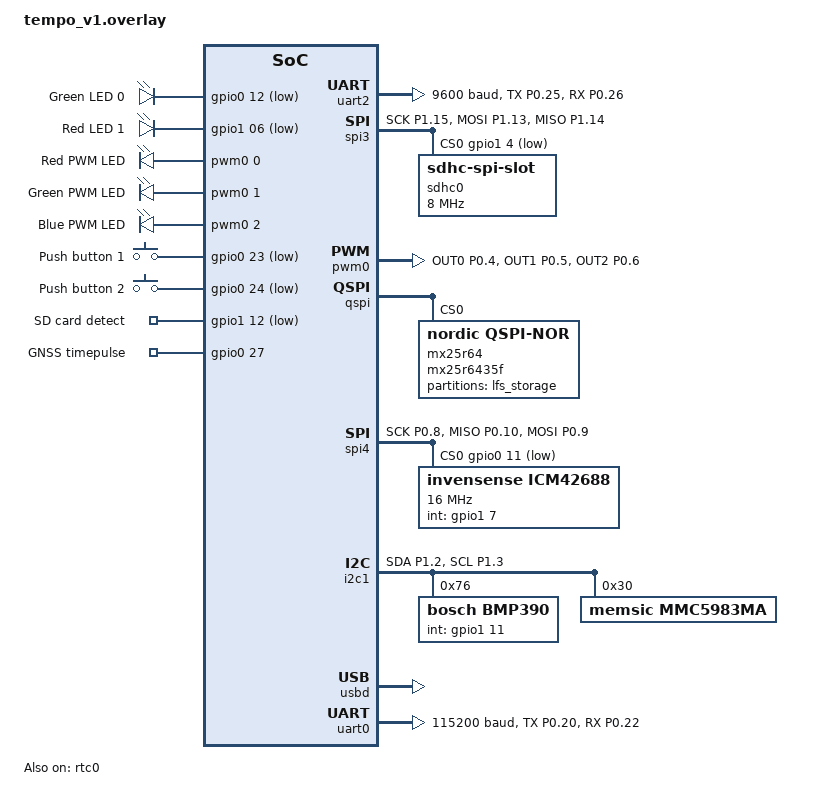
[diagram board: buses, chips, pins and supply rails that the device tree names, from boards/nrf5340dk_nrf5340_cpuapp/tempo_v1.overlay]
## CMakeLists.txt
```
#
# Copyright (c) 2018 Nordic Semiconductor
#
# SPDX-License-Identifier: LicenseRef-Nordic-5-Clause
#
cmake_minimum_required(VERSION 3.20.0)

# Add custom devicetree bindings
list(APPEND DTS_ROOT ${CMAKE_CURRENT_SOURCE_DIR})

find_package(Zephyr REQUIRED HINTS $ENV{ZEPHYR_BASE})
project(tempo-bt-v1)


# Generate version header on every build: the header embeds the git commit
# and build date, which can change without app.version being touched.
# gen_version.py rewrites the file only when its content actually changes,
# so dependent sources are not needlessly recompiled.
set(VERSION_HEADER ${CMAKE_CURRENT_BINARY_DIR}/include/generated/app_version.h)
add_custom_target(version_header
    COMMAND ${PYTHON_EXECUTABLE} ${CMAKE_CURRENT_SOURCE_DIR}/scripts/gen_version.py ${VERSION_HEADER}
    BYPRODUCTS ${VERSION_HEADER}
    COMMENT "Generating version header"
)
add_dependencies(app version_header)

# NORDIC SDK APP START
# Add generated include directory
target_include_directories(app PRIVATE ${CMAKE_CURRENT_BINARY_DIR}/include)

# Main application sources
target_sources(app PRIVATE 
    src/main.c
    src/app_init.c
    src/events.c
    src/mcumgr_custom.c
    src/ble_mcumgr.c
)

# Configuration sources
target_sources(app PRIVATE
    src/config/settings.c
)

# Service layer sources
target_sources(app PRIVATE
    src/services/timebase.c
    src/services/gnss_m10q.c
    src/services/imu_icm42688.c
    src/services/orientation.c
    src/services/baro_bmp390.c
    src/services/aggregator.c
    src/services/storage.c
    src/services/storage_fatfs.c
    src/services/storage_littlefs.c
    src/services/logger.c
    src/services/file_writer.c
    src/services/led.c
)

# Magnetometer driver and service (optional)
target_sources_ifdef(CONFIG_MMC5983MA app PRIVATE
    drivers/sensor/mmc5983ma/mmc5983ma.c
    drivers/sensor/mmc5983ma/mmc5983ma_i2c.c
    src/services/mag_mmc5983ma.c
)
target_include_directories_ifdef(CONFIG_MMC5983MA app PRIVATE
    drivers/sensor/mmc5983ma
)

# USB CDC-ACM TTY service (optional)
target_sources_ifdef(CONFIG_USB_TTY_OUTPUT app PRIVATE
    src/services/usb_tty.c
    src/services/usb_cmd.c
)

# Utility sources
target_sources(app PRIVATE
    src/util/nmea_checksum.c
    tests/test_imu.c
)

# Fusion AHRS library
target_sources(app PRIVATE
    Fusion/FusionAhrs.c
    Fusion/FusionBias.c
    Fusion/FusionCompass.c
)

# NORDIC SDK APP END
zephyr_library_include_directories(.)
target_include_directories(app PRIVATE
    include
    ${CMAKE_CURRENT_SOURCE_DIR}/Fusion
)
```

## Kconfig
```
#
# Tempo-BT Application Configuration
#
# SPDX-License-Identifier: Apache-2.0

menu "Tempo-BT Application"

config GNSS_TEST_MODE
	bool "Enable GNSS UBX communication test at boot"
	default n
	help
	  Run UBX protocol validation tests during GNSS initialization.
	  This sends test commands to the SAM-M10Q and verifies ACK/NAK
	  responses are received correctly. Useful for debugging
	  communication issues with the GNSS module.

config USE_MAG_IN_ORIENTATION
	bool "Use magnetometer in orientation AHRS"
	default n
	depends on MMC5983MA
	help
	  When enabled, the orientation service will read magnetometer
	  samples from the MMC5983MA sensor and feed them to the Fusion
	  AHRS algorithm for improved heading accuracy. This provides
	  absolute heading reference but requires magnetometer calibration.

	  When disabled, the AHRS operates in IMU-only mode using
	  gyroscope and accelerometer data. Heading will drift over time
	  but is immune to magnetic interference.

config USB_TTY_OUTPUT
	bool "Enable USB CDC-ACM TTY output for ground testing"
	default y
	depends on USB_DEVICE_STACK && USB_CDC_ACM
	help
	  Long press BTN1 to stream sensor/NMEA data over USB serial
	  when a USB host is connected. Ground test mode only.

endmenu

# Include project-specific drivers
rsource "drivers/Kconfig"

source "Kconfig.zephyr"
```

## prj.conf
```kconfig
#
# Copyright (c) 2018 Nordic Semiconductor
#
# SPDX-License-Identifier: LicenseRef-Nordic-5-Clause
#

# System configuration
CONFIG_MAIN_STACK_SIZE=10240
CONFIG_SYSTEM_WORKQUEUE_STACK_SIZE=2048
CONFIG_MCUMGR_TRANSPORT_WORKQUEUE_STACK_SIZE=4608
CONFIG_ISR_STACK_SIZE=2048
CONFIG_HEAP_MEM_POOL_SIZE=16384

# Thread configuration
CONFIG_INIT_STACKS=y
CONFIG_THREAD_STACK_INFO=y
CONFIG_THREAD_MONITOR=y
CONFIG_THREAD_NAME=y

# Logging configuration
CONFIG_LOG=y
CONFIG_LOG_BACKEND_UART=y
CONFIG_LOG_DEFAULT_LEVEL=3
CONFIG_LOG_MODE_IMMEDIATE=y
CONFIG_LOG_BACKEND_RTT=n
CONFIG_USE_SEGGER_RTT=n
#CONFIG_SEGGER_RTT_BUFFER_SIZE_UP=4096
#CONFIG_RTT_CONSOLE=y
CONFIG_CONSOLE=y
CONFIG_UART_CONSOLE=y

# Floating Point and math support
CONFIG_FPU=y
CONFIG_CBPRINTF_FP_SUPPORT=y
CONFIG_POSIX_API=y

# Enable sensor drivers
CONFIG_SENSOR=y
CONFIG_ICM42688=y
CONFIG_SENSOR_LOG_LEVEL_DBG=n 

# Optional: Enable trigger/interrupt mode
# CONFIG_ICM42688_TRIGGER=y
# CONFIG_ICM42688_TRIGGER_GLOBAL_THREAD=y

# Drivers
CONFIG_GPIO=y
CONFIG_I2C=y
CONFIG_SPI=y
#CONFIG_SPI_NRFX=y

CONFIG_SERIAL=y
CONFIG_UART_ASYNC_API=y
CONFIG_UART_INTERRUPT_DRIVEN=y
# support reconfiguration to move to faster baudrate after init
CONFIG_UART_USE_RUNTIME_CONFIGURE=y

# CDC-ACM forces UART_INTERRUPT_DRIVEN=y globally, which makes each hardware
# UART instance default to interrupt-driven mode (blocking async API).
# Explicitly disable interrupt-driven on hardware UARTs so they use async API.
CONFIG_UART_0_INTERRUPT_DRIVEN=n
CONFIG_UART_2_INTERRUPT_DRIVEN=n

CONFIG_PWM=y

# USB CDC-ACM for ground test output
CONFIG_USB_DEVICE_STACK=y
CONFIG_USB_CDC_ACM=y
CONFIG_USB_DEVICE_VID=0x1209
CONFIG_USB_DEVICE_PID=0x2026
CONFIG_USB_DEVICE_PRODUCT="Tempo-BT"
CONFIG_USB_DEVICE_MANUFACTURER="Riley Rainey"
CONFIG_USB_DEVICE_LOG_LEVEL_WRN=y

# Button and LED library
CONFIG_DK_LIBRARY=y

# Flash and QSPI configuration
CONFIG_FLASH=y
CONFIG_FLASH_PAGE_LAYOUT=y
CONFIG_FLASH_MAP=y
CONFIG_NORDIC_QSPI_NOR=y
CONFIG_NORDIC_QSPI_NOR_FLASH_LAYOUT_PAGE_SIZE=4096
CONFIG_NORDIC_QSPI_NOR_STACK_WRITE_BUFFER_SIZE=16
CONFIG_PM_DEVICE=y

# NVS Settings
CONFIG_SETTINGS=y
CONFIG_SETTINGS_NVS=y
CONFIG_NVS=y
# CONFIG_NVS_LOG_LEVEL_DBG=y
# CONFIG_SETTINGS_LOG_LEVEL_DBG=y
CONFIG_MPU_ALLOW_FLASH_WRITE=y

# File system configuration
CONFIG_FILE_SYSTEM=y
CONFIG_FILE_SYSTEM_LITTLEFS=y
CONFIG_FS_LITTLEFS_NUM_FILES=4
CONFIG_FS_LITTLEFS_NUM_DIRS=4

# SD Card and FAT filesystem
CONFIG_DISK_ACCESS=y
CONFIG_DISK_DRIVER_SDMMC=y
CONFIG_SDHC=y
CONFIG_SDMMC_STACK=y
CONFIG_FAT_FILESYSTEM_ELM=y
CONFIG_FS_FATFS_EXFAT=y  
CONFIG_FS_FATFS_LFN=y   
CONFIG_FS_FATFS_LFN_MODE_HEAP=y
CONFIG_FS_FATFS_MAX_LFN=255
CONFIG_FS_FATFS_CODEPAGE=437  
CONFIG_FS_FATFS_NUM_FILES=8
CONFIG_FS_FATFS_NUM_DIRS=8 
CONFIG_FS_FATFS_REENTRANT=y

# Bluetooth LE configuration
CONFIG_BT=y
CONFIG_BT_PERIPHERAL=y
CONFIG_BT_DEVICE_NAME="Tempo-BT"
CONFIG_BT_DEVICE_NAME_DYNAMIC=y
CONFIG_BT_MAX_CONN=2
CONFIG_BT_LBS=y
CONFIG_BT_LBS_POLL_BUTTON=y
CONFIG_BT_GATT_CLIENT=y
CONFIG_BT_RX_STACK_SIZE=2048

# BLE connection parameters
CONFIG_BT_PERIPHERAL_PREF_MIN_INT=800
CONFIG_BT_PERIPHERAL_PREF_MAX_INT=800
CONFIG_BT_PERIPHERAL_PREF_LATENCY=0
CONFIG_BT_PERIPHERAL_PREF_TIMEOUT=400
CONFIG_BT_GAP_AUTO_UPDATE_CONN_PARAMS=y

# BLE PHY and data length updates
CONFIG_BT_USER_PHY_UPDATE=y
CONFIG_BT_USER_DATA_LEN_UPDATE=y

# BLE buffer configuration for mcumgr
CONFIG_BT_BUF_ACL_TX_SIZE=251
CONFIG_BT_BUF_ACL_RX_SIZE=502
CONFIG_BT_L2CAP_TX_MTU=498
CONFIG_BT_L2CAP_TX_BUF_COUNT=8
CONFIG_BT_ATT_PREPARE_COUNT=2

# mcumgr configuration
CONFIG_ZCBOR=y
CONFIG_MCUMGR=y
CONFIG_MCUMGR_GRP_FS=y
CONFIG_MCUMGR_GRP_IMG=y
CONFIG_MCUMGR_GRP_OS=y
CONFIG_MCUMGR_GRP_STAT=y

# SMP over Bluetooth
CONFIG_MCUMGR_TRANSPORT_BT=y
CONFIG_MCUMGR_TRANSPORT_BT_PERM_RW=y
CONFIG_MCUMGR_TRANSPORT_BT_CONN_PARAM_CONTROL=y

# File system management
# Chunk must fit in MCUMGR_TRANSPORT_NETBUF_SIZE (2475) with CBOR overhead;
# larger chunks mean fewer BLE request/response round trips per download
CONFIG_MCUMGR_GRP_FS_DL_CHUNK_SIZE=1024
CONFIG_MCUMGR_GRP_FS_DL_CHUNK_SIZE_LIMIT=y


# Image management for DFU
CONFIG_STREAM_FLASH=y
CONFIG_IMG_MANAGER=y
CONFIG_MCUBOOT_IMG_MANAGER=y
CONFIG_IMG_BLOCK_BUF_SIZE=512

# Shell configuration
#CONFIG_SHELL=y
#CONFIG_SHELL_BACKENDS=y
#CONFIG_SHELL_BACKEND_SERIAL=y
#CONFIG_SHELL_CMD_BUFF_SIZE=256
#CONFIG_NET_SHELL=n

CONFIG_SHELL=n

# mcumgr callbacks
CONFIG_MCUMGR_MGMT_NOTIFICATION_HOOKS=y
CONFIG_MCUMGR_GRP_FS_FILE_ACCESS_HOOK=y

# OS management
CONFIG_MCUMGR_GRP_OS_TASKSTAT=y
CONFIG_MCUMGR_GRP_OS_ECHO=y

# Statistics
CONFIG_STATS=y
CONFIG_STATS_NAMES=y
CONFIG_MCUMGR_GRP_STAT_MAX_NAME_LEN=32

# MCUboot support
CONFIG_BOOTLOADER_MCUBOOT=y
CONFIG_MCUBOOT_SIGNATURE_KEY_FILE="bootloader/mcuboot/root-rsa-2048.pem"
CONFIG_NCS_SAMPLE_MCUMGR_BT_OTA_DFU=y

# System features
CONFIG_REBOOT=y

#CONFIG_GNSS_TEST_MODE=y

# Magnetometer sensor integration
CONFIG_MMC5983MA=y
CONFIG_USE_MAG_IN_ORIENTATION=y
```

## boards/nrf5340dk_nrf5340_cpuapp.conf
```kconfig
#
# Copyright (c) 2018 Nordic Semiconductor
#
# SPDX-License-Identifier: LicenseRef-Nordic-5-Clause
#

# Logger module
CONFIG_LOG=y

# Button and LED library
CONFIG_DK_LIBRARY=y

# Floating Point Unit
CONFIG_FPU=y

# Bluetooth LE
CONFIG_BT=y
CONFIG_BT_PERIPHERAL=y
CONFIG_BT_LBS=y
CONFIG_BT_LBS_POLL_BUTTON=y
CONFIG_BT_GATT_CLIENT=y

# STEP 5 - Configure your preferred connection parameters
CONFIG_BT_PERIPHERAL_PREF_MIN_INT=800
CONFIG_BT_PERIPHERAL_PREF_MAX_INT=800
CONFIG_BT_PERIPHERAL_PREF_LATENCY=0
CONFIG_BT_PERIPHERAL_PREF_TIMEOUT=400
CONFIG_BT_GAP_AUTO_UPDATE_CONN_PARAMS=y

# STEP 8 - Enable PHY updates.
CONFIG_BT_USER_PHY_UPDATE=y

# STEP 12 - Update Data Length and MTU
CONFIG_BT_USER_DATA_LEN_UPDATE=y
#CONFIG_BT_BUF_ACL_RX_SIZE=251
CONFIG_BT_BUF_ACL_RX_SIZE=502
#CONFIG_BT_BUF_ACL_TX_SIZE=251
#CONFIG_BT_L2CAP_TX_MTU=247
CONFIG_BT_BUF_ACL_TX_SIZE=251
CONFIG_BT_L2CAP_TX_MTU=498

# Increase stack size for the main thread, System Workqueue, and BT RX thread
CONFIG_SYSTEM_WORKQUEUE_STACK_SIZE=2048
CONFIG_MAIN_STACK_SIZE=2048
CONFIG_BT_RX_STACK_SIZE=2048
```

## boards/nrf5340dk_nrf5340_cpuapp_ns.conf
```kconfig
#
# Copyright (c) 2018 Nordic Semiconductor
#
# SPDX-License-Identifier: LicenseRef-Nordic-5-Clause
#

# Logger module
CONFIG_LOG=y

# Button and LED library
CONFIG_DK_LIBRARY=y

# Floating Point Unit
CONFIG_FPU=y

# Bluetooth LE
CONFIG_BT=y
CONFIG_BT_PERIPHERAL=y
CONFIG_BT_LBS=y
CONFIG_BT_LBS_POLL_BUTTON=y
CONFIG_BT_GATT_CLIENT=y

# STEP 5 - Configure your preferred connection parameters
CONFIG_BT_PERIPHERAL_PREF_MIN_INT=800
CONFIG_BT_PERIPHERAL_PREF_MAX_INT=800
CONFIG_BT_PERIPHERAL_PREF_LATENCY=0
CONFIG_BT_PERIPHERAL_PREF_TIMEOUT=400
CONFIG_BT_GAP_AUTO_UPDATE_CONN_PARAMS=y

# STEP 8 - Enable PHY updates.
CONFIG_BT_USER_PHY_UPDATE=y

# STEP 12 - Update Data Length and MTU
CONFIG_BT_USER_DATA_LEN_UPDATE=y
CONFIG_BT_BUF_ACL_RX_SIZE=251
CONFIG_BT_BUF_ACL_TX_SIZE=251
CONFIG_BT_L2CAP_TX_MTU=247

# Increase stack size for the main thread, System Workqueue, and BT RX thread
CONFIG_SYSTEM_WORKQUEUE_STACK_SIZE=2048
CONFIG_MAIN_STACK_SIZE=2048
CONFIG_BT_RX_STACK_SIZE=2048
```

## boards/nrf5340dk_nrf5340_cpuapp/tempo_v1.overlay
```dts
/*
 * Copyright (c) 2025 Riley Rainey
 * SPDX-License-Identifier: Apache-2.0
 *
 * Tempo-BT V1 Board Overlay
 * Golden board definition
 */

 #include <zephyr/dt-bindings/sensor/icm42688.h>


&rtc0 {
    status = "okay";
};

/* UART for SAM-M10Q GNSS */
&uart2 {
    status = "okay";
    current-speed = <9600>;  /* SAM-M10Q default baud rate */
    pinctrl-0 = <&uart2_default>;
    pinctrl-1 = <&uart2_sleep>;
    pinctrl-names = "default", "sleep";
    /* No hw-flow-control property = flow control disabled */
};

/* SPI3 for SD Card */
&spi3 {
    compatible = "nordic,nrf-spim";
    status = "okay";
    cs-gpios = <&gpio1 4 (GPIO_ACTIVE_LOW | GPIO_PULL_UP)>;  /* P1.04 for CS */
    pinctrl-0 = <&spi3_default>;
    pinctrl-1 = <&spi3_sleep>;
    pinctrl-names = "default", "sleep";
    
    /* SD Card using SPI mode */
    sdhc0: sdhc@0 {
        compatible = "zephyr,sdhc-spi-slot";
        reg = <0>;
        spi-max-frequency = <8000000>;  /* Start at 8MHz, SD cards support up to 25MHz in SPI mode */
        mmc {
            compatible = "zephyr,sdmmc-disk";
            disk-name = "SD";
            status = "okay";
        };
    };
};

/* Enable RGB LED */
&pwm0 {
    status = "okay";
    pinctrl-0 = <&pwm0_default>;
    pinctrl-1 = <&pwm0_sleep>;
    pinctrl-names = "default", "sleep";
};

/ {
    /* STANDARD LEDs */
    leds {
		compatible = "gpio-leds";
        status = "okay";
		led0: led_0 {
			gpios = <&gpio0 12 GPIO_ACTIVE_LOW>;
			label = "Green LED 0";
		};
		led1: led_1 {
			gpios = <&gpio1 06 GPIO_ACTIVE_LOW>;
			label = "Red LED 1";
		};
	};

    /* RGB LED */
    pwmleds {
		compatible = "pwm-leds";
		status = "okay";
		pwm_led0: pwm_led_0 {
			/* Try without polarity inversion first */
			pwms = <&pwm0 0 PWM_MSEC(20) PWM_POLARITY_NORMAL>;
			label = "Red PWM LED";
		};
		pwm_led1: pwm_led_1 {
			pwms = <&pwm0 1 PWM_MSEC(20) PWM_POLARITY_NORMAL>;
			label = "Green PWM LED";
		};
		pwm_led2: pwm_led_2 {
			pwms = <&pwm0 2 PWM_MSEC(20) PWM_POLARITY_NORMAL>;
			label = "Blue PWM LED";
		};
	};

    /* OPTIONAL HARDWARE-DEBOUNCED PUSHBUTTONS */
    buttons {
		compatible = "gpio-keys";
        status = "okay";
		button0: button_0 {
			gpios = <&gpio0 23 (GPIO_PULL_UP | GPIO_ACTIVE_LOW)>;
			label = "Push button 1";
			zephyr,code = <INPUT_KEY_0>;
		};
		button1: button_1 {
			gpios = <&gpio0 24 (GPIO_PULL_UP | GPIO_ACTIVE_LOW)>;
			label = "Push button 2";
			zephyr,code = <INPUT_KEY_1>;
		};
	};

    sdcard_detect: sdcard_detect {
        compatible = "gpio-keys";
        sdcard_detect_pin: sdcard_detect_pin {
            gpios = <&gpio1 12 (GPIO_PULL_UP | GPIO_ACTIVE_LOW)>;
            label = "SD card detect";
        };
    };

    /* GNSS Time Pulse (PPS) input from SAM-M10Q */
    gnss_pps: gnss_pps {
        compatible = "gpio-keys";
        gnss_timepulse: gnss_timepulse_pin {
            gpios = <&gpio0 27 GPIO_ACTIVE_HIGH>;
            label = "GNSS timepulse";
        };
    };

    gpio_fwd: nrf-gpio-forwarder {
		compatible = "nordic,nrf-gpio-forwarder";
		status = "okay";

		uart {
			gpios = <&gpio1 1 0>, <&gpio1 0 0>, <&gpio0 28 0>, <&gpio0 29 0>;
		};
	};

    aliases {
        imu0 = &icm42688;
        spi-flash0 = &mx25r64;
        sw0 = &button0;
        sw1 = &button1;
        /* rtc0 = &rtc0; */
    };

    chosen {
        /* Zephyr console on UART0 (default) */
        zephyr,console = &uart0;
        zephyr,shell-uart = &uart0;
        nordic,pm-ext-flash = &mx25r64;
    };
};

/* QSPI NOR Flash - MX25R6435F (64 Mbit) */
&qspi {
    status = "okay";
    
    mx25r64: mx25r6435f@0 {
        status = "okay";
        compatible = "nordic,qspi-nor";
        reg = <0>;
        
        /* MX25R6435F supports up to 80MHz in SDR mode */
        sck-frequency = <8000000>; /* Start conservative at 8MHz */
        
        /* JEDEC ID for MX25R6435F */
        jedec-id = [c2 28 17];
        
        /* 64 Mbit = 8 MByte */
        size = <67108864>;
        
        /* Memory organization */
        has-dpd;
        t-enter-dpd = <10000>;
        t-exit-dpd = <35000>;
        
        /* Quad mode configuration */
        quad-enable-requirements = "S1B6";
        
        /* Read modes supported */
        readoc = "read4io";
        writeoc = "pp4io";
        
        partitions {
            compatible = "fixed-partitions";
            #address-cells = <1>;
            #size-cells = <1>;
            
            lfs_storage: partition@0 {
                label = "lfs_storage";
                reg = <0x00000000 0x00800000>;  /* 8MB */
            };
        };
    };
};

/* SPI4 for IMU - Task 16 */
&spi4 {
    compatible = "nordic,nrf-spim";
    status = "okay";
    cs-gpios = <&gpio0 11 GPIO_ACTIVE_LOW>;  /* P0.11 for CS */
    pinctrl-0 = <&spi4_default>;
    pinctrl-1 = <&spi4_sleep>;
    pinctrl-names = "default", "sleep";
    
    /* ICM-42688-V; requires driver patch for WHO_AM_I to correctly ID the chip */
    icm42688: icm42688@0 {
        compatible = "invensense,icm42688";
        status = "okay";
        reg = <0>;
        spi-max-frequency = <16000000>;
        int-gpios = <&gpio1 7 GPIO_ACTIVE_HIGH>;
        accel-pwr-mode = <ICM42688_DT_ACCEL_LN>;
        accel-fs = <ICM42688_DT_ACCEL_FS_16>;
        accel-odr = <ICM42688_DT_ACCEL_ODR_200>;
        gyro-pwr-mode= <ICM42688_DT_GYRO_LN>;
        gyro-fs = <ICM42688_DT_GYRO_FS_2000>;
        gyro-odr = <ICM42688_DT_GYRO_ODR_200>;
    };
};

/* I2C1 for Barometer and Magnetometer */
&i2c1 {
	compatible = "nordic,nrf-twim";
	status = "okay";
	pinctrl-0 = <&i2c1_default>;
	pinctrl-1 = <&i2c1_sleep>;
	pinctrl-names = "default", "sleep";
    
    bmp390: bmp390@76 {
        compatible = "bosch,bmp390";
        reg = <0x76>;
        label = "BMP390";
        int-gpios = <&gpio1 11 GPIO_ACTIVE_HIGH>;
    };
    
    mmc5983ma: mmc5983ma@30 {
        compatible = "memsic,mmc5983ma";
        reg = <0x30>;
        bandwidth = <0>;        /* BW=00: 8ms measurement, lowest noise */
        auto-sr;                /* Enable automatic SET/RESET */
    };

};

/* USB Device — D+/D- on dedicated SoC pins (B106 C9/D9) */
&usbd {
    compatible = "nordic,nrf-usbd";
    status = "okay";

    cdc_acm_uart0: cdc_acm_uart0 {
        compatible = "zephyr,cdc-acm-uart";
    };
};

/* APP_NORA UART */
&uart0 {
    status = "okay";
    current-speed = <115200>;
    pinctrl-0 = <&uart0_default>;
    pinctrl-1 = <&uart0_sleep>;
    pinctrl-names = "default", "sleep";
    /* No hw-flow-control property = flow control disabled */
};

/* UART for GNSS - Using uart2 */
&uart2 {
    status = "okay";
    current-speed = <9600>;  /* SAM-M10Q default baud rate */
    pinctrl-0 = <&uart2_default>;
    pinctrl-1 = <&uart2_sleep>;
    pinctrl-names = "default", "sleep";
    /* No hw-flow-control property = flow control disabled */
};

/* uart2 pin configuration - TX/RX only, RTS/CTS explicitly disconnected */
&pinctrl {

    i2c1_default: i2c1_default {
		group1 {
			psels = <NRF_PSEL(TWIM_SDA, 1, 2)>,
				<NRF_PSEL(TWIM_SCL, 1, 3)>;
		};
	};

	i2c1_sleep: i2c1_sleep {
		group1 {
			psels = <NRF_PSEL(TWIM_SDA, 1, 2)>,
				<NRF_PSEL(TWIM_SCL, 1, 3)>;
			low-power-enable;
		};
	};

    uart0_default: uart0_default {
        group1 {
            psels = <NRF_PSEL(UART_TX, 0, 20)>,   /* P0.20 APP_NORA_TX */
                    <NRF_PSEL(UART_RX, 0, 22)>;   /* P0.22 APP_NORA_RX */
        };
        group2 {
            psels = <NRF_PSEL(UART_RTS, 0, 0xFFFFFFFF)>,  /* Disconnected */
                    <NRF_PSEL(UART_CTS, 0, 0xFFFFFFFF)>;  /* Disconnected */
        };
    };

    uart0_sleep: uart0_sleep {
        group1 {
            psels = <NRF_PSEL(UART_TX, 0, 20)>,
                    <NRF_PSEL(UART_RX, 0, 22)>;
            low-power-enable;
        };
        group2 {
            psels = <NRF_PSEL(UART_RTS, 0, 0xFFFFFFFF)>,
                    <NRF_PSEL(UART_CTS, 0, 0xFFFFFFFF)>;
            low-power-enable;
        };
    };

    uart2_default: uart2_default {
        group1 {
            psels = <NRF_PSEL(UART_TX, 0, 25)>,   /* P0.25 (VCOM1_TX) -> GNSS RX */
                    <NRF_PSEL(UART_RX, 0, 26)>;   /* P0.26 (VCOM1_RX) <- GNSS TX */
        };
        group2 {
            psels = <NRF_PSEL(UART_RTS, 0, 0xFFFFFFFF)>,  /* Disconnected */
                    <NRF_PSEL(UART_CTS, 0, 0xFFFFFFFF)>;  /* Disconnected */
        };
    };

    uart2_sleep: uart2_sleep {
        group1 {
            psels = <NRF_PSEL(UART_TX, 0, 25)>,
                    <NRF_PSEL(UART_RX, 0, 26)>;
            low-power-enable;
        };
        group2 {
            psels = <NRF_PSEL(UART_RTS, 0, 0xFFFFFFFF)>,
                    <NRF_PSEL(UART_CTS, 0, 0xFFFFFFFF)>;
            low-power-enable;
        };
    };

    spi3_default: spi3_default {
        group1 {
            psels = <NRF_PSEL(SPIM_SCK, 1, 15)>,  /* P1.15 FLASH_SCK */
                    <NRF_PSEL(SPIM_MOSI, 1, 13)>; /* P1.13 FLASH_MOSI */
        };
        group2 {
            psels = <NRF_PSEL(SPIM_MISO, 1, 14)>;  /* P1.14 FLASH_MISO */
            bias-pull-up;                          /* Enable pull-up on MISO */
        };
    };

    spi3_sleep: spi3_sleep {
        group1 {
            psels = <NRF_PSEL(SPIM_SCK, 1, 15)>,
                    <NRF_PSEL(SPIM_MOSI, 1, 13)>;
        };
        group2 {
            psels = <NRF_PSEL(SPIM_MISO, 1, 14)>;
            bias-pull-up;  /* Enable pull-up on MISO */
        };
    };

    spi4_default: spi4_default {
		group1 {
			psels = <NRF_PSEL(SPIM_SCK, 0, 8)>,// mikroBUS slot 1
				<NRF_PSEL(SPIM_MISO, 0, 10)>,// mikroBUS slot 1
				<NRF_PSEL(SPIM_MOSI, 0, 9)>;// mikroBUS slot 1
		};
	};

	spi4_sleep: spi4_sleep {
		group1 {
			psels = <NRF_PSEL(SPIM_SCK, 0, 8)>,// mikroBUS slot 1
				<NRF_PSEL(SPIM_MISO, 0, 10)>,// mikroBUS slot 1
				<NRF_PSEL(SPIM_MOSI, 0, 9)>;// mikroBUS slot 1
			low-power-enable;
		};
	};

    pwm0_default: pwm0_default {
		group1 {
			psels = <NRF_PSEL(PWM_OUT0, 0, 4)>,
				<NRF_PSEL(PWM_OUT1, 0, 5)>,
				<NRF_PSEL(PWM_OUT2, 0, 6)>;
			nordic,invert; 
		};
	};

	pwm0_sleep: pwm0_sleep {
		group1 {
			psels = <NRF_PSEL(PWM_OUT0, 0, 4)>,
				<NRF_PSEL(PWM_OUT1, 0, 5)>,
				<NRF_PSEL(PWM_OUT2, 0, 6)>;
			nordic,invert;
			low-power-enable;
		};
	};
};

&button2 {
    status = "disabled";
};

&button3 {
    status = "disabled";
};
```

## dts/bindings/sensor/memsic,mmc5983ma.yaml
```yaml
# Copyright (c) 2024
# SPDX-License-Identifier: Apache-2.0

description: |
  MEMSIC MMC5983MA 3-axis magnetometer with temperature sensor.

  Features:
  - ±8 Gauss full scale range
  - 18-bit resolution (0.0625 mG/LSB)
  - Up to 1000 Hz output data rate
  - Built-in SET/RESET for offset elimination
  - I2C interface (400 kHz fast mode)

  Example devicetree node:

    &i2c1 {
        mmc5983ma: mmc5983ma@30 {
            compatible = "memsic,mmc5983ma";
            reg = <0x30>;
            status = "okay";

            /* Optional configuration */
            bandwidth = <0>;        /* 0=100Hz, 1=200Hz, 2=400Hz, 3=800Hz */
            auto-sr;                /* Enable automatic SET/RESET */
        };
    };

compatible: "memsic,mmc5983ma"

include: [sensor-device.yaml, i2c-device.yaml]

properties:
  bandwidth:
    type: int
    default: 0
    description: |
      Bandwidth selection (decimation filter length).
      Controls measurement time and noise level.
        0: 8ms measurement, 100Hz bandwidth, 0.4mG RMS noise
        1: 4ms measurement, 200Hz bandwidth, 0.6mG RMS noise
        2: 2ms measurement, 400Hz bandwidth, 0.8mG RMS noise
        3: 0.5ms measurement, 800Hz bandwidth, 1.2mG RMS noise
    enum:
      - 0
      - 1
      - 2
      - 3

  auto-sr:
    type: boolean
    description: |
      Enable automatic SET/RESET function.
      When enabled, the sensor automatically performs SET/RESET
      operations to eliminate bridge offset drift with temperature.
      Recommended for best accuracy.

  continuous-mode-rate:
    type: int
    default: 0
    description: |
      Continuous measurement mode frequency in Hz.
      Set to 0 to disable continuous mode (use single-shot).
      Valid values: 0 (off), 1, 10, 20, 50, 100, 200, 1000
    enum:
      - 0
      - 1
      - 10
      - 20
      - 50
      - 100
      - 200
      - 1000

  int-gpios:
    type: phandle-array
    description: |
      Optional interrupt GPIO for data-ready notification.
      The INT pin is active high when a measurement completes.

  # Calibration defaults (can be overridden at runtime via settings)
  cal-offset-x:
    type: int
    default: 0
    description: Hard-iron X offset in raw 18-bit counts

  cal-offset-y:
    type: int
    default: 0
    description: Hard-iron Y offset in raw 18-bit counts

  cal-offset-z:
    type: int
    default: 0
    description: Hard-iron Z offset in raw 18-bit counts

  cal-scale-x:
    type: int
    default: 32768
    description: X axis scale factor (Q1.15 fixed-point, 32768 = 1.0)

  cal-scale-y:
    type: int
    default: 32768
    description: Y axis scale factor (Q1.15 fixed-point, 32768 = 1.0)

  cal-scale-z:
    type: int
    default: 32768
    description: Z axis scale factor (Q1.15 fixed-point, 32768 = 1.0)
```

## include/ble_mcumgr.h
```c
#ifndef BLE_MCUMGR_H
#define BLE_MCUMGR_H

/**
 * @brief Initialize BLE stack, mcumgr transport, and start advertising
 *
 * @return 0 on success, negative error code on failure
 */
extern int ble_mcumgr_init(void);

/**
 * @brief Stop BLE advertising and disconnect any active connection
 *
 * Call this when entering an active logging session to eliminate
 * radio interference and save power during flight.  Safe to call
 * if BLE is already stopped.
 *
 * @return 0 on success, negative error code on failure
 */
int ble_mcumgr_stop(void);

/**
 * @brief Restart BLE advertising after a logging session ends
 *
 * Re-enables advertising so the device is discoverable again.
 * Safe to call if BLE is already advertising.
 *
 * @return 0 on success, negative error code on failure
 */
int ble_mcumgr_restart(void);

/**
 * @brief Schedule BLE stop after a short delay
 *
 * Used when logging is started via a BLE command so the mcumgr
 * response packet can be transmitted before the radio is disabled.
 * The default delay is 500 ms.
 */
void ble_mcumgr_stop_deferred(void);

#endif /* BLE_MCUMGR_H */
```

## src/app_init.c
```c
/*
 * SPDX-License-Identifier: Apache-2.0
 * 
 * Tempo-BT V1 - Application Initialization
 */

#define PM_lfs_storage_ID PM_littlefs_storage_ID

#include <zephyr/kernel.h>
#include <zephyr/logging/log.h>
#include <zephyr/fs/fs.h>
#include <zephyr/fs/littlefs.h>
#include <zephyr/storage/flash_map.h>
#include <zephyr/device.h>
#include <zephyr/devicetree.h>
#include <zephyr/dfu/mcuboot.h>
#include <zephyr/mgmt/mcumgr/mgmt/mgmt.h>
#include <zephyr/mgmt/mcumgr/mgmt/callbacks.h>

#include <zephyr/bluetooth/bluetooth.h>
#include <zephyr/bluetooth/conn.h>

LOG_MODULE_REGISTER(app_init, LOG_LEVEL_INF);

#include "ble_mcumgr.h"
#include "services/logger.h"
#include "services/storage.h"

extern void tempo_mgmt_register(void);

/* DFU safety callback */
static enum mgmt_cb_return dfu_mgmt_action(uint32_t event, enum mgmt_cb_return prev_status,
				       int32_t *rc, uint16_t *group, bool *abort_more, void *data,
				       size_t data_size)
{
    if (event == MGMT_EVT_OP_IMG_MGMT_DFU_CHUNK) {
        /* Check if logging is active */
        logger_state_t state = logger_get_state();
        if (state == LOGGER_STATE_LOGGING) {
            LOG_WRN("DFU blocked: logging in progress");
            *abort_more = true;
            return MGMT_CB_ERROR_RC;
        }
    }
    
    return MGMT_CB_OK;
}

static struct mgmt_callback dfu_mgmt_cb = {
    .callback = dfu_mgmt_action,
    .event_id = MGMT_EVT_OP_IMG_MGMT_DFU_CHUNK,
};

/* Register DFU safety callback */
void dfu_safety_init(void)
{
    mgmt_callback_register(&dfu_mgmt_cb);
    LOG_INF("DFU safety callback registered");
}

/* Get the partition ID directly */
#define STORAGE_PARTITION_ID FIXED_PARTITION_ID(lfs_storage)

/* LittleFS work buffer and cache configuration */
FS_LITTLEFS_DECLARE_DEFAULT_CONFIG(littlefs_storage);

#if 0
/* Mount point - renamed to avoid conflict with lfs_mount function */
static struct fs_mount_t storage_mount_point = {
    .type = FS_LITTLEFS,
    .fs_data = &littlefs_storage,
    .storage_dev = (void *)STORAGE_PARTITION_ID,
    .mnt_point = "/lfs",
};
#endif

int app_storage_init(void)
{
    int ret;

    /* Try to initialize with auto-detection */
    ret = storage_auto_init();
    if (ret != 0) {
        LOG_ERR("Failed to initialize storage: %d", ret);
        return ret;
    }

    /* Get backend info */
    storage_backend_t backend = storage_get_backend();
    const char *backend_name = (backend == STORAGE_BACKEND_FATFS) ? "SD card" : "internal flash";
    
    LOG_INF("Storage initialized using %s", backend_name);

    /* Create logs directory based on backend if it doesn't exist */
    const char *logs_path = (backend == STORAGE_BACKEND_LITTLEFS) ? "/lfs/logs" : "/SD:/logs";
    struct fs_dirent entry;

    ret = fs_stat(logs_path, &entry);
    if (ret == 0) {
        LOG_INF("Logs directory exists");
    } else {
        ret = fs_mkdir(logs_path);
        if (ret < 0) {
            LOG_ERR("Error creating logs directory: %d", ret);
            return ret;
        }
        LOG_INF("Created logs directory");
    }

    /* Get filesystem statistics */
    uint64_t free_bytes, total_bytes;
    ret = storage_get_free_space(&free_bytes, &total_bytes);
    if (ret == 0) {
        LOG_INF("Storage: %llu MB free of %llu MB total",
                free_bytes / (1024*1024), 
                total_bytes / (1024*1024));
    }

    return 0;
}

int app_init(void)
{
    int ret;

    LOG_INF("Initializing Tempo-BT application");

    /* Note: Settings are now initialized inside ble_mcumgr_init() */
    /* to ensure the device name is available before BLE starts */

    /* Initialize BLE and mcumgr - this also starts advertising */
    ret = ble_mcumgr_init();
    if (ret != 0) {
        LOG_ERR("Failed to initialize BLE/mcumgr: %d", ret);
        return ret;
    }

    /* Note: BLE advertising is already started by ble_mcumgr_init() */
    /* No need to start it again here */

    //LOG_INF("Bluetooth initialized and advertising");

    /* Register custom mcumgr handlers */
    tempo_mgmt_register();

    /* Initialize DFU safety */
    dfu_safety_init();

    LOG_INF("app_init() complete");

    return 0;
}
```

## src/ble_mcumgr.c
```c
/*
 * SPDX-License-Identifier: Apache-2.0
 * 
 * Tempo-BT V1 - BLE and mcumgr Initialization
 */

#include <zephyr/kernel.h>
#include <zephyr/logging/log.h>
#include <zephyr/bluetooth/bluetooth.h>
#include <zephyr/bluetooth/hci.h>
#include <zephyr/bluetooth/conn.h>
#include <zephyr/bluetooth/uuid.h>
#include <zephyr/bluetooth/gatt.h>
#include <zephyr/mgmt/mcumgr/mgmt/mgmt.h>
#include <zephyr/mgmt/mcumgr/mgmt/callbacks.h>
#include <zephyr/mgmt/mcumgr/transport/smp_bt.h>
#include <zephyr/mgmt/mcumgr/grp/fs_mgmt/fs_mgmt.h>
//#include <zephyr/mgmt/mcumgr/grp/img_mgmt/img_mgmt.h>
#include <zephyr/mgmt/mcumgr/grp/os_mgmt/os_mgmt.h>
#include <zephyr/mgmt/mcumgr/grp/stat_mgmt/stat_mgmt.h>
#include <zephyr/mgmt/mcumgr/grp/shell_mgmt/shell_mgmt.h>

#include "app/events.h"
#include "config/settings.h"

LOG_MODULE_REGISTER(ble_mcumgr, LOG_LEVEL_INF);

static struct k_work advertising_work;

/* Deferred BLE stop work item (500 ms delay) */
static struct k_work_delayable ble_stop_work;

/* Track whether BLE radio is currently active */
static bool ble_radio_active;

/* Storage for dynamic device name */
static char device_name[32] = "Tempo-BT";  /* Default fallback */

/* Advertising parameters: ~1 s interval to be power/spectrum friendly.
 * BT_GAP_ADV_SLOW_INT_MIN/MAX are 1000 ms / 1200 ms.
 */
static const struct bt_le_adv_param adv_param = BT_LE_ADV_PARAM_INIT(
    BT_LE_ADV_OPT_CONN,
    BT_GAP_ADV_SLOW_INT_MIN,
    BT_GAP_ADV_SLOW_INT_MAX,
    NULL);

/* BLE advertising data */
static const struct bt_data ad[] = {
    BT_DATA_BYTES(BT_DATA_FLAGS, (BT_LE_AD_GENERAL | BT_LE_AD_NO_BREDR)),
    BT_DATA_BYTES(BT_DATA_UUID128_ALL,
                  0x84, 0xaa, 0x60, 0x74, 0x52, 0x8a, 0x8b, 0x86,
                  0xd3, 0x4c, 0xb7, 0x1d, 0x1d, 0xdc, 0x53, 0x8d), /* SMP/mcumgr UUID */
};

/* Scan response data - will be updated with dynamic name */
static struct bt_data sd[1];

/* Connection reference */
static struct bt_conn *current_conn;

/* Connection callbacks */
static void connected(struct bt_conn *conn, uint8_t err)
{
    if (err) {
        LOG_ERR("Connection failed (err 0x%02x)", err);
        return;
    }

    current_conn = bt_conn_ref(conn);
    
    LOG_INF("Connected");

    /* Update connection parameters for better throughput */
    struct bt_le_conn_param param = {
        .interval_min = 6,    /* 7.5 ms */
        .interval_max = 12,   /* 15 ms */
        .latency = 0,
        .timeout = 400,       /* 4 s */
    };

    int ret = bt_conn_le_param_update(conn, &param);
    if (ret) {
        LOG_WRN("Failed to request connection parameter update: %d", ret);
    }

    /* Emit connection event */
    app_event_t evt = {
        .type = EVT_BLE_CONNECTED
    };
    event_bus_publish(&evt);
}

static void advertising_work_handler(struct k_work *work)
{
    /* Don't restart advertising if radio has been intentionally stopped */
    if (!ble_radio_active) {
        LOG_INF("BLE radio stopped, not restarting advertising");
        return;
    }

    int ret = bt_le_adv_start(&adv_param, 
                              ad, ARRAY_SIZE(ad), 
                              sd, ARRAY_SIZE(sd));
    if (ret) {
        LOG_ERR("Failed to restart advertising: %d", ret);
    }
}

static void disconnected(struct bt_conn *conn, uint8_t reason)
{
    ARG_UNUSED(conn);

    LOG_INF("Disconnected (reason 0x%02x)", reason);

    if (current_conn) {
        bt_conn_unref(current_conn);
        current_conn = NULL;
    }

    /* Emit disconnection event */
    app_event_t evt = {
        .type = EVT_BLE_DISCONNECTED
    };
    event_bus_publish(&evt);

}

static void recycled_cb(void)
{
    LOG_INF("Connection recycled - safe to restart\n");
    k_work_submit(&advertising_work);
}


static void param_updated(struct bt_conn *conn, uint16_t interval,
                          uint16_t latency, uint16_t timeout)
{
    ARG_UNUSED(conn);
    
    LOG_INF("Connection parameters updated: interval=%d, latency=%d, timeout=%d",
            interval, latency, timeout);
}

static struct bt_conn_cb conn_callbacks = {
    .connected = connected,
    .disconnected = disconnected,
    .le_param_updated = param_updated,
    .recycled = recycled_cb,
};

/* File system access hooks for mcumgr */
static enum mgmt_cb_return fs_mgmt_upload_action(uint32_t event, enum mgmt_cb_return prev_status,
				       int32_t *rc, uint16_t *group, bool *abort_more, void *data,
				       size_t data_size)
{
    const char *path;
    
    if (event == MGMT_EVT_OP_FS_MGMT_FILE_ACCESS) {
        struct fs_mgmt_file_access *access = (struct fs_mgmt_file_access *)data;
        path = access->filename;
        
        /* Check write permissions */
        if (access->access == FS_MGMT_FILE_ACCESS_WRITE) {
            /* Allow write access to upload directory */
            if (strstr(path, "/lfs/upload/") == path) {
                return MGMT_CB_OK;
            }
            
            /* Deny all other writes */
            *abort_more = true;
            return MGMT_CB_ERROR_RC;
        } else {
            /* Read access checks */
            /* Deny access to system files */
            if (strstr(path, "/lfs/system/") == path) {
                *abort_more = true;
                return MGMT_CB_ERROR_RC;
            }
            
            /* Allow read access to everything else */
            return MGMT_CB_OK;
        }
    }
    
    return MGMT_CB_OK;
}

static struct mgmt_callback fs_mgmt_cb = {
    .callback = fs_mgmt_upload_action,
    .event_id = MGMT_EVT_OP_FS_MGMT_FILE_ACCESS,
};

/* Deferred BLE stop handler */
static void ble_stop_work_handler(struct k_work *work)
{
    ARG_UNUSED(work);
    LOG_INF("Deferred BLE stop executing");
    ble_mcumgr_stop();
}

/* Initialize BLE and mcumgr */
int ble_mcumgr_init(void)
{
    int ret;

    LOG_INF("Initializing BLE and mcumgr");

    /* Initialize settings first to get the device name */
    ret = app_settings_init();
    if (ret) {
        LOG_WRN("Failed to initialize settings: %d, using default name", ret);
    } else {
        /* Get the configured device name */
        const char *configured_name = app_settings_get_ble_name();
        if (configured_name && strlen(configured_name) > 0) {
            strncpy(device_name, configured_name, sizeof(device_name) - 1);
            device_name[sizeof(device_name) - 1] = '\0';
            LOG_INF("Using configured device name: %s", device_name);
        } else {
            LOG_INF("No configured name, using default: %s", device_name);
        }
    }

    /* Update scan response data with the device name */
    sd[0].type = BT_DATA_NAME_COMPLETE;
    sd[0].data_len = strlen(device_name);
    sd[0].data = (const uint8_t *)device_name;

    /* Initialize Bluetooth */
    ret = bt_enable(NULL);
    if (ret) {
        LOG_ERR("Failed to enable Bluetooth: %d", ret);
        return ret;
    }

    LOG_INF("Bluetooth initialized");

    /* Set the device name in the Bluetooth stack */
    ret = bt_set_name(device_name);
    if (ret) {
        LOG_WRN("Failed to set Bluetooth device name: %d", ret);
    }

    k_work_init(&advertising_work, advertising_work_handler);
    k_work_init_delayable(&ble_stop_work, ble_stop_work_handler);

    /* Register connection callbacks */
    bt_conn_cb_register(&conn_callbacks);

    /* Initialize mcumgr transports - no need to call smp_bt_register() in newer versions */
    /* It's done automatically when CONFIG_MCUMGR_TRANSPORT_BT is enabled */

    /* Register mcumgr command groups - these are now done automatically via Kconfig */
    /* The groups are registered when their respective CONFIG options are enabled:
     * - CONFIG_MCUMGR_GRP_FS for filesystem
     * - CONFIG_MCUMGR_GRP_IMG for image management
     * - CONFIG_MCUMGR_GRP_OS for OS management
     * - CONFIG_MCUMGR_GRP_STAT for statistics
     * - CONFIG_MCUMGR_GRP_SHELL for shell
     */

    /* Register file system access callback */
    mgmt_callback_register(&fs_mgmt_cb);

    /* Start advertising */
    ble_radio_active = true;

    ret = bt_le_adv_start(&adv_param, ad, ARRAY_SIZE(ad),
                          sd, ARRAY_SIZE(sd));
    if (ret) {
        LOG_ERR("Failed to start advertising: %d", ret);
        return ret;
    }

    LOG_INF("BLE advertising started with name: %s", device_name);

    return 0;
}

/* Stop BLE radio: disconnect + stop advertising */
int ble_mcumgr_stop(void)
{
    int ret;

    if (!ble_radio_active) {
        LOG_DBG("BLE radio already stopped");
        return 0;
    }

    LOG_INF("Stopping BLE radio for logging session");

    ble_radio_active = false;

    /* Stop advertising first so no new connections arrive */
    ret = bt_le_adv_stop();
    if (ret && ret != -EALREADY) {
        LOG_WRN("Failed to stop advertising: %d", ret);
    }

    /* Disconnect any active connection */
    if (current_conn) {
        ret = bt_conn_disconnect(current_conn, BT_HCI_ERR_REMOTE_USER_TERM_CONN);
        if (ret) {
            LOG_WRN("Failed to disconnect: %d", ret);
        }
        /* The disconnected callback will unref current_conn */
    }

    LOG_INF("BLE radio stopped");
    return 0;
}

/* Restart BLE advertising */
int ble_mcumgr_restart(void)
{
    int ret;

    if (ble_radio_active) {
        LOG_DBG("BLE radio already active");
        return 0;
    }

    LOG_INF("Restarting BLE radio after logging session");

    ble_radio_active = true;

    ret = bt_le_adv_start(&adv_param, ad, ARRAY_SIZE(ad),
                          sd, ARRAY_SIZE(sd));
    if (ret && ret != -EALREADY) {
        LOG_ERR("Failed to restart advertising: %d", ret);
        return ret;
    }

    LOG_INF("BLE advertising restarted");
    return 0;
}

/* Schedule BLE stop after delay (for BLE-initiated logging starts) */
void ble_mcumgr_stop_deferred(void)
{
    LOG_INF("Scheduling BLE stop in 500 ms");
    k_work_schedule(&ble_stop_work, K_MSEC(500));
}

/* Get current connection status */
bool ble_is_connected(void)
{
    return current_conn != NULL;
}

/* Get connection info */
int ble_get_conn_info(struct bt_conn_info *info)
{
    if (!current_conn || !info) {
        return -EINVAL;
    }

    return bt_conn_get_info(current_conn, info);
}

/* Get current device name */
const char *ble_get_device_name(void)
{
    return device_name;
}
```

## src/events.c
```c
/*
 * SPDX-License-Identifier: Apache-2.0
 * 
 * Tempo-BT V1 - Event Bus Implementation
 */

#include <zephyr/kernel.h>
#include <zephyr/logging/log.h>
#include <string.h>

#include "app/events.h"

LOG_MODULE_REGISTER(event_bus, LOG_LEVEL_INF);

/* Event queue and processing thread */
#define EVENT_QUEUE_SIZE 16
#define EVENT_THREAD_STACK_SIZE 2048
#define EVENT_THREAD_PRIORITY 7

K_MSGQ_DEFINE(event_queue, sizeof(app_event_t), EVENT_QUEUE_SIZE, 4);
K_THREAD_STACK_DEFINE(event_thread_stack, EVENT_THREAD_STACK_SIZE);

static struct k_thread event_thread_data;
static k_tid_t event_thread_id;

/* Subscriber list */
static event_subscriber_t *subscriber_list = NULL;
static struct k_mutex subscriber_mutex;

/* Event type names for logging */
static const char *event_names[] = {
    [EVT_SESSION_START] = "SESSION_START",
    [EVT_SESSION_STOP] = "SESSION_STOP",
    [EVT_STATE_CHANGE] = "STATE_CHANGE",
    [EVT_STORAGE_LOW] = "STORAGE_LOW",
    [EVT_STORAGE_ERROR] = "STORAGE_ERROR",
    [EVT_UPLOAD_START] = "UPLOAD_START",
    [EVT_UPLOAD_DONE] = "UPLOAD_DONE",
    [EVT_DFU_START] = "DFU_START",
    [EVT_DFU_DONE] = "DFU_DONE",
    [EVT_SENSOR_ERROR] = "SENSOR_ERROR",
    [EVT_GNSS_FIX_ACQUIRED] = "GNSS_FIX_ACQUIRED",
    [EVT_GNSS_FIX_LOST] = "GNSS_FIX_LOST",
    [EVT_TEST_DUMMY] = "TEST_DUMMY"
};

/* Event processing thread */
static void event_thread_func(void *p1, void *p2, void *p3)
{
    ARG_UNUSED(p1);
    ARG_UNUSED(p2);
    ARG_UNUSED(p3);
    
    app_event_t event;
    
    LOG_INF("Event bus thread started");
    
    while (1) {
        /* Wait for event */
        if (k_msgq_get(&event_queue, &event, K_FOREVER) == 0) {
            LOG_DBG("Processing event: %s", 
                    event.type < ARRAY_SIZE(event_names) ? event_names[event.type] : "UNKNOWN");
            
            /* Lock subscriber list */
            k_mutex_lock(&subscriber_mutex, K_FOREVER);
            
            /* Notify all interested subscribers */
            event_subscriber_t *sub = subscriber_list;
            int count = 0;
            while (sub) {
                /* Check if subscriber wants this event type */
                if (sub->event_mask & (1U << event.type)) {
                    if (sub->handler) {
                        sub->handler(&event, sub->user_data);
                        count++;
                    }
                }
                sub = sub->next;
            }
            
            if (count == 0) {
                LOG_DBG("No subscribers for event %s", 
                        event.type < ARRAY_SIZE(event_names) ? event_names[event.type] : "UNKNOWN");
            }
            
            k_mutex_unlock(&subscriber_mutex);
        }
    }
}

int event_bus_init(void)
{
    /* Initialize mutex */
    k_mutex_init(&subscriber_mutex);
    
    /* Start event processing thread */
    event_thread_id = k_thread_create(&event_thread_data,
                                     event_thread_stack,
                                     K_THREAD_STACK_SIZEOF(event_thread_stack),
                                     event_thread_func,
                                     NULL, NULL, NULL,
                                     EVENT_THREAD_PRIORITY, 0, K_NO_WAIT);
    
    k_thread_name_set(event_thread_id, "event_bus");
    
    LOG_INF("Event bus initialized");
    
    return 0;
}

int event_bus_subscribe(event_subscriber_t *subscriber,
                       event_handler_t handler,
                       uint32_t event_mask,
                       void *user_data)
{
    if (!subscriber || !handler) {
        return -EINVAL;
    }
    
    /* Initialize subscriber */
    subscriber->handler = handler;
    subscriber->event_mask = event_mask;
    subscriber->user_data = user_data;
    subscriber->next = NULL;
    
    /* Add to list */
    k_mutex_lock(&subscriber_mutex, K_FOREVER);
    
    if (!subscriber_list) {
        subscriber_list = subscriber;
    } else {
        /* Find end of list */
        event_subscriber_t *last = subscriber_list;
        while (last->next) {
            last = last->next;
        }
        last->next = subscriber;
    }
    
    k_mutex_unlock(&subscriber_mutex);
    
    LOG_DBG("Subscriber added, mask: 0x%08x", event_mask);
    
    return 0;
}

int event_bus_unsubscribe(event_subscriber_t *subscriber)
{
    if (!subscriber) {
        return -EINVAL;
    }
    
    k_mutex_lock(&subscriber_mutex, K_FOREVER);
    
    if (subscriber_list == subscriber) {
        /* Remove from head */
        subscriber_list = subscriber->next;
    } else {
        /* Find and remove from list */
        event_subscriber_t *prev = subscriber_list;
        while (prev && prev->next != subscriber) {
            prev = prev->next;
        }
        if (prev) {
            prev->next = subscriber->next;
        }
    }
    
    k_mutex_unlock(&subscriber_mutex);
    
    LOG_DBG("Subscriber removed");
    
    return 0;
}

int event_bus_publish(const app_event_t *event)
{
    if (!event) {
        return -EINVAL;
    }
    
    /* Add timestamp if not set */
    app_event_t evt = *event;
    if (evt.timestamp_ms == 0) {
        evt.timestamp_ms = k_uptime_get_32();
    }
    
    /* Queue event */
    int ret = k_msgq_put(&event_queue, &evt, K_NO_WAIT);
    if (ret != 0) {
        LOG_WRN("Event queue full, dropping event: %s",
                evt.type < ARRAY_SIZE(event_names) ? event_names[evt.type] : "UNKNOWN");
        return ret;
    }
    
    LOG_DBG("Published event: %s", 
            evt.type < ARRAY_SIZE(event_names) ? event_names[evt.type] : "UNKNOWN");
    
    return 0;
}

int event_bus_publish_simple(event_type_t type)
{
    app_event_t event = {
        .type = type,
        .timestamp_ms = k_uptime_get_32()
    };
    
    return event_bus_publish(&event);
}
```
